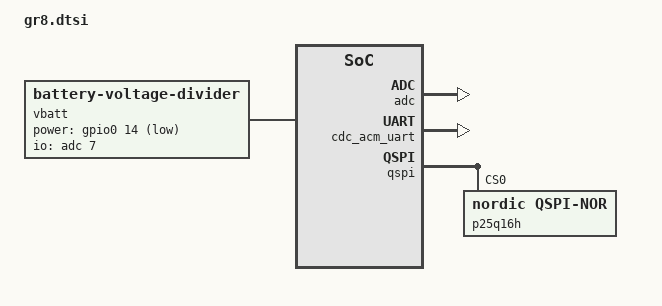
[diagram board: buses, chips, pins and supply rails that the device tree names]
#include <dt-bindings/zmk/matrix_transform.h>
/*
/ {

	chosen {
		zmk,kscan = &kscan0;
		zmk,matrix_transform = &default_transform;
	};

	default_transform: keymap_transform_0 {
		compatible = "zmk,matrix-transform";
		columns = <4>;
		rows = <1>;
		map = <
            RC(0,0)  RC(0,1)  RC(0,2)  RC(0,3)
            RC(0,4)  RC(0,5)  RC(0,6)  RC(0,7)
		>;
	};

	kscan0: kscan {
		compatible = "zmk,kscan-gpio-direct";
		label = "KSCAN";
		input-gpios =
		    <&pro_micro 0 (GPIO_ACTIVE_LOW | GPIO_PULL_UP)>,
		    <&pro_micro 1 (GPIO_ACTIVE_LOW | GPIO_PULL_UP)>,
		    <&pro_micro 2 (GPIO_ACTIVE_LOW | GPIO_PULL_UP)>,
		    <&pro_micro 3 (GPIO_ACTIVE_LOW | GPIO_PULL_UP)>,
		    <&pro_micro 4 (GPIO_ACTIVE_LOW | GPIO_PULL_UP)>,
		    <&pro_micro 5 (GPIO_ACTIVE_LOW | GPIO_PULL_UP)>,
		    <&pro_micro 6 (GPIO_ACTIVE_LOW | GPIO_PULL_UP)>,
		    <&pro_micro 7 (GPIO_ACTIVE_LOW | GPIO_PULL_UP)>
		;
	};	

};
*/
/ {
    chosen {
        zephyr,console = &cdc_acm_uart;
        zmk,battery = &vbatt;
    };

    vbatt: vbatt {
        compatible = "zmk,battery-voltage-divider";
        io-channels = <&adc 7>;
        power-gpios = <&gpio0 14 (GPIO_OPEN_DRAIN | GPIO_ACTIVE_LOW)>;
        output-ohms = <510000>;
        full-ohms = <(1000000 + 510000)>;
    };
};

&adc {
    status = "okay";
};

&usbd {
    cdc_acm_uart: cdc_acm_uart {
        compatible = "zephyr,cdc-acm-uart";
    };
};

&qspi {
    status = "okay";
    pinctrl-0 = <&qspi_default>;
    pinctrl-1 = <&qspi_sleep>;
    pinctrl-names = "default", "sleep";
    p25q16h: p25q16h@0 {
        compatible = "nordic,qspi-nor";
        reg = <0>;
        sck-frequency = <104000000>;
        quad-enable-requirements = "S2B1v1";
        jedec-id = [85 60 15];
        sfdp-bfp = [
            e5 20 f1 ff  ff ff ff 00  44 eb 08 6b  08 3b 80 bb
            ee ff ff ff  ff ff 00 ff  ff ff 00 ff  0c 20 0f 52
            10 d8 08 81
        ];
        size = <16777216>;
        has-dpd;
        t-enter-dpd = <3000>;
        t-exit-dpd = <8000>;
    };
};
